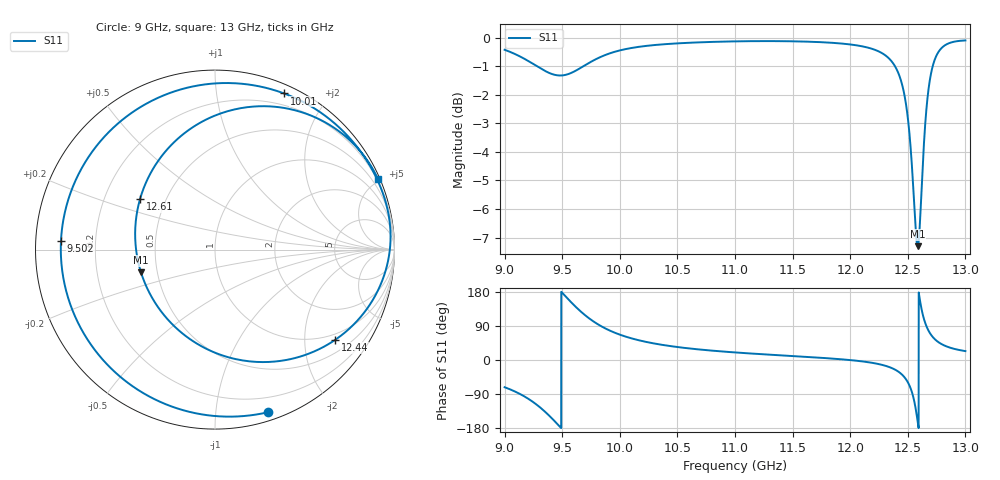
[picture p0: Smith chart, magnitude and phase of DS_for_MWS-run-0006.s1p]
! TOUCHSTONE file generated by CST DESIGN STUDIO
! Date and time: Tue Feb  4 16:06:18 2025
! Project name: C:\Work\MatlabApps\UnitCellOptimizationMatlab\CST\unitcell.cst
! Tree item: Tasks\Sweep1\SPara1\S-Parameters
! Header version: 2024
! Port assignment regex: !\s*Touchstone port\s*([0-9]+)\s*=\s*(CST MWS port|CST DES external port|CST DES block port)\s*(.+)\s* \(\"(.*)\"\)(\s*mode\s*([0-9]+))?.*
! Touchstone port assignment:
! Touchstone port 1 = CST DES external port 1 ("")
# GHz S MA R 50
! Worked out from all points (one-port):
!   4001 points, 9 GHz to 13 GHz, reference 50 ohm
!   lowest |S11| = -7.3 dB at 12.59 GHz (marker M1), VSWR 2.52, Z = 20.2 - j6.29 ohm
!   |S11| at or under -10 dB: nowhere
!   S11 on the Smith chart (normalised r, x): 9 GHz: 0.07, -1.38; 9.502 GHz: 0.08, +0.03; 10.01 GHz: 0.08, +1.53; 12.44 GHz: 0.83, -2.78; 12.61 GHz: 0.36, +0.27; 13 GHz: 0.13, +4.81
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9  0.953 -71.9
9.159  0.9219 -93.9
9.276  0.893 -117.3
9.405  0.8651 -152.3
9.5  0.8594 177.4
9.502  0.8595 176.7
9.619  0.8762 139.8
9.721  0.901 112.8
9.837  0.9266 89.4
10  0.9506 66.9
10.007  0.9513 66.2
10.218  0.9675 48.4
10.5  0.978 34.2
11  0.986 20.0
11.5  0.9862 10.4
12  0.9738 -0.2
12.304  0.9323 -15.1
12.444  0.8375 -36.9
12.5  0.7248 -58.5
12.546  0.5522 -95.7
12.586  0.4314 -163.0
12.612  0.5035 146.1
12.64  0.6517 108.5
12.668  0.7742 84.8
12.711  0.8834 62.8
12.759  0.9395 48.6
12.852  0.9776 34.1
13  0.9896 23.5
